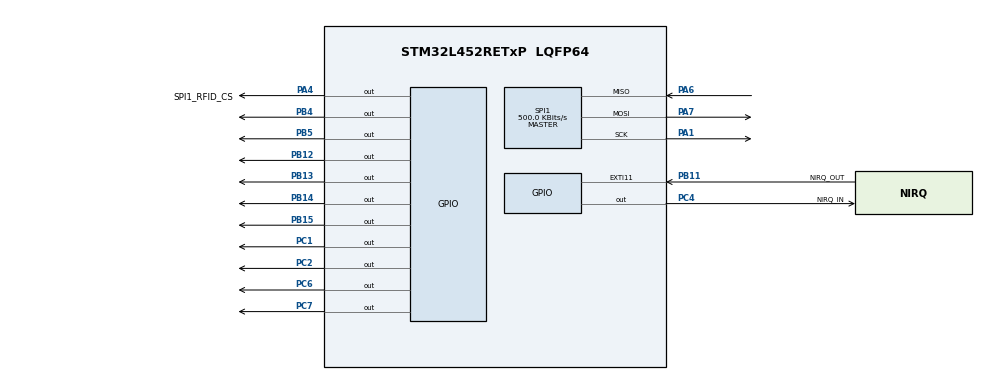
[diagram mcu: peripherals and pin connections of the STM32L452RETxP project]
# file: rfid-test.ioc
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Mcu.Family=STM32L4
Mcu.Name=STM32L452RETxP
Mcu.Package=LQFP64
NVIC.EXTI15_10_IRQn=true\:0\:0\:false\:false\:true\:true\:true\:true
NVIC.PriorityGroup=NVIC_PRIORITYGROUP_4
PA1.Mode=Full_Duplex_Master
PA1.Signal=SPI1_SCK
PA4.GPIO_Label=SPI1_RFID_CS
PA4.GPIO_Speed=GPIO_SPEED_FREQ_VERY_HIGH
PA4.PinState=GPIO_PIN_SET
PA4.Signal=GPIO_Output
PA6.Mode=Full_Duplex_Master
PA6.Signal=SPI1_MISO
PA7.Mode=Full_Duplex_Master
PA7.Signal=SPI1_MOSI
PB11.GPIO_Label=NIRQ_OUT
PB11.GPIO_ModeDefaultEXTI=GPIO_MODE_IT_FALLING
PB11.GPIO_PuPd=GPIO_PULLUP
PB11.Signal=GPXTI11
PB12.Signal=GPIO_Output
PB13.Signal=GPIO_Output
PB14.Signal=GPIO_Output
PB15.Signal=GPIO_Output
PB4\ (NJTRST).Signal=GPIO_Output
PB5.Signal=GPIO_Output
PC1.Signal=GPIO_Output
PC2.Signal=GPIO_Output
PC4.GPIO_Label=NIRQ_IN
PC4.GPIO_PuPd=GPIO_PULLUP
PC4.GPIO_Speed=GPIO_SPEED_FREQ_LOW
PC4.Signal=GPIO_Output
PC6.Signal=GPIO_Output
PC7.Signal=GPIO_Output
ProjectManager.HeapSize=0x200
ProjectManager.StackSize=0x400
ProjectManager.TargetToolchain=STM32CubeIDE
RCC.HSE_VALUE=8000000
RCC.HSI48_VALUE=48000000
RCC.HSI_VALUE=16000000
RCC.LSE_VALUE=32768
RCC.MSI_VALUE=4000000
RCC.VCOOutputFreq_Value=32000000
SPI1.BaudRatePrescaler=SPI_BAUDRATEPRESCALER_8
SPI1.CalculateBaudRate=500.0 KBits/s
SPI1.DataSize=SPI_DATASIZE_8BIT
SPI1.Direction=SPI_DIRECTION_2LINES
SPI1.Mode=SPI_MODE_MASTER
SPI1.VirtualType=VM_MASTER
board=custom

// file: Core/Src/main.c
/* USER CODE BEGIN Header */
/**
  ******************************************************************************
  * @file           : main.c
  * @brief          : Main program body
  ******************************************************************************
  * @attention
  *
  * Copyright (c) 2022 STMicroelectronics.
  * All rights reserved.
  *
  * This software is licensed under terms that can be found in the LICENSE file
  * in the root directory of this software component.
  * If no LICENSE file comes with this software, it is provided AS-IS.
  *
  ******************************************************************************
  */
/* USER CODE END Header */
#include "main.h"

/* USER CODE BEGIN Includes */
#include "st25r95.h"
#include <stdlib.h>
/* USER CODE END Includes */

/* USER CODE BEGIN PD */
#define RFID_CS_PORT GPIOA
#define RFID_CS_PIN GPIO_PIN_4
#define RFID_NIRQ_IN_PORT GPIOC
#define RFID_NIRQ_IN_PIN GPIO_PIN_4
#define RFID_NIRQ_OUT_PORT GPIOB
#define RFID_NIRQ_OUT_PIN GPIO_PIN_11

#define SEL0_GPIO_Port GPIOC
#define SEL1_GPIO_Port GPIOC
#define SEL2_GPIO_Port GPIOB
#define SEL3_GPIO_Port GPIOB
#define SEL4_GPIO_Port GPIOC
#define SEL5_GPIO_Port GPIOC
#define SEL6_GPIO_Port GPIOB
#define SEL7_GPIO_Port GPIOB

#define SEL0_Pin GPIO_PIN_2
#define SEL1_Pin GPIO_PIN_1
#define SEL2_Pin GPIO_PIN_15
#define SEL3_Pin GPIO_PIN_14
#define SEL4_Pin GPIO_PIN_7
#define SEL5_Pin GPIO_PIN_6
#define SEL6_Pin GPIO_PIN_13
#define SEL7_Pin GPIO_PIN_12

/* USER CODE END PD */

SPI_HandleTypeDef hspi1;

void SystemClock_Config(void);
static void MX_GPIO_Init(void);
static void MX_SPI1_Init(void);

/* USER CODE BEGIN 0 */
void select_switch_port(uint8_t channel_index) {

	// lol I originally wrote this to be 1 indexed, so I added
		// channel_index++ to make it 0 indexed, the rest of the
		// logic is 1 indexed though

		if (channel_index < 1 || channel_index > 12) {
			return 1;  // Invalid switch index
		}

		// Set U2.4
		uint8_t switch_refdes = 0;  // U2.X for 1st layer switch
		if (channel_index <= 4) {
			HAL_GPIO_WritePin(SEL6_GPIO_Port, SEL6_Pin, 0);
			HAL_GPIO_WritePin(SEL7_GPIO_Port, SEL7_Pin, 0);
			switch_refdes = 1;
		}
		else if (channel_index <= 8) {
			HAL_GPIO_WritePin(SEL6_GPIO_Port, SEL6_Pin, 1);
			HAL_GPIO_WritePin(SEL7_GPIO_Port, SEL7_Pin, 1);
			switch_refdes = 2;
		}
		else { // if channel_index <= 12
			HAL_GPIO_WritePin(SEL6_GPIO_Port, SEL6_Pin, 1);
			HAL_GPIO_WritePin(SEL7_GPIO_Port, SEL7_Pin, 0);
			switch_refdes = 3;
		}

		// The pattern on each 2nd layer switch is the same, use multiplexing
		uint8_t V0 = 0;
		uint8_t V1 = 0;
		if (channel_index % 4 == 0) {  // 4, 8, 12
			V0 = 1;
			V1 = 0;
		}
		else if (channel_index % 4 == 1) {  // 1, 5, 9
			V0 = 0;
			V1 = 0;
		}
		else if (channel_index % 4 == 2) {  // 2, 6, 10
			V0 = 0;
			V1 = 1;
		}
		else {  // if channel_index % 4 == 3  // 3, 7, 11
			V0 = 1;
			V1 = 1;
		}

		// The other switches' V0/V1 are don't care, but set them to 0 anyways
		switch(switch_refdes) {
		case 1:
			HAL_GPIO_WritePin(SEL0_GPIO_Port, SEL0_Pin, V0);
			HAL_GPIO_WritePin(SEL1_GPIO_Port, SEL1_Pin, V1);
			HAL_GPIO_WritePin(SEL2_GPIO_Port, SEL2_Pin, 0);
			HAL_GPIO_WritePin(SEL3_GPIO_Port, SEL3_Pin, 0);
			HAL_GPIO_WritePin(SEL4_GPIO_Port, SEL4_Pin, 0);
			HAL_GPIO_WritePin(SEL5_GPIO_Port, SEL5_Pin, 0);
			break;
		case 2:
			HAL_GPIO_WritePin(SEL0_GPIO_Port, SEL0_Pin, 0);
			HAL_GPIO_WritePin(SEL1_GPIO_Port, SEL1_Pin, 0);
			HAL_GPIO_WritePin(SEL2_GPIO_Port, SEL2_Pin, V0);
			HAL_GPIO_WritePin(SEL3_GPIO_Port, SEL3_Pin, V1);
			HAL_GPIO_WritePin(SEL4_GPIO_Port, SEL4_Pin, 0);
			HAL_GPIO_WritePin(SEL5_GPIO_Port, SEL5_Pin, 0);
			break;
		case 3:
			HAL_GPIO_WritePin(SEL0_GPIO_Port, SEL0_Pin, 0);
			HAL_GPIO_WritePin(SEL1_GPIO_Port, SEL1_Pin, 0);
			HAL_GPIO_WritePin(SEL2_GPIO_Port, SEL2_Pin, 0);
			HAL_GPIO_WritePin(SEL3_GPIO_Port, SEL3_Pin, 0);
			HAL_GPIO_WritePin(SEL4_GPIO_Port, SEL4_Pin, V0);
			HAL_GPIO_WritePin(SEL5_GPIO_Port, SEL5_Pin, V1);
			break;
		default:
			break;
		}

		return 0;
}

volatile st25r95_handle reader_handler;

void reader_irq_pulse() {
  HAL_GPIO_WritePin(RFID_NIRQ_IN_PORT, RFID_NIRQ_IN_PIN, GPIO_PIN_RESET);
  HAL_Delay(1);
  HAL_GPIO_WritePin(RFID_NIRQ_IN_PORT, RFID_NIRQ_IN_PIN, GPIO_PIN_SET);
  HAL_Delay(100);
}

void reader_nss(uint8_t enable) {
  HAL_GPIO_WritePin(RFID_CS_PORT, RFID_CS_PIN, enable ? GPIO_PIN_RESET : GPIO_PIN_SET);
}

int reader_tx(uint8_t *data, size_t len) {
  int ret = HAL_SPI_Transmit(&hspi1, data, len, HAL_MAX_DELAY);
  return ret;
}

int reader_rx(uint8_t *data, size_t len, uint32_t delay) {
  int ret = HAL_SPI_Receive(&hspi1, data, len, delay);
  return ret;
}

void HAL_GPIO_EXTI_Callback(uint16_t pin) {
  if (pin == RFID_NIRQ_OUT_PIN) {
    reader_handler.irq_flag = 1;
  }
}

void st25_card_callback(uint8_t *uid) {
  HAL_Delay(uid[0]);
}
/* USER CODE END 0 */

int main(void)
{

  /* MCU Configuration--------------------------------------------------------*/

  /* Reset of all peripherals, Initializes the Flash interface and the Systick. */
  HAL_Init();

  /* Configure the system clock */
  SystemClock_Config();

  /* Initialize all configured peripherals */
  MX_GPIO_Init();
  MX_SPI1_Init();
  /* USER CODE BEGIN 2 */

  /* Setup all protocol */
  reader_handler.protocol = ST25_PROTOCOL_15693;
  reader_handler.tx_speed = ST25_26K_106K; // datarate used by 14443A
  reader_handler.rx_speed = ST25_26K_106K; // same for up and downlinks
  reader_handler.timerw = 0x58;
  reader_handler.ARC = 0xD1;
  reader_handler.irq_flag = 0;

  /* Bind BSP Functions */
  reader_handler.nss = reader_nss;
  reader_handler.tx = reader_tx;
  reader_handler.rx = reader_rx;
  reader_handler.irq_pulse = reader_irq_pulse;
  reader_handler.callback = st25_card_callback;

  select_switch_port(5);
  st25r95_init(&reader_handler);
  st25r95_calibrate(&reader_handler);

  /* USER CODE END 2 */

  /* Infinite loop */
  /* USER CODE BEGIN WHILE */

  st25r95_idle(&reader_handler);
  while (1) {
    st25r95_service(&reader_handler);
    /* USER CODE END WHILE */

  }
}

void SystemClock_Config(void)
{
  RCC_OscInitTypeDef RCC_OscInitStruct = {0};
  RCC_ClkInitTypeDef RCC_ClkInitStruct = {0};

  /** Configure the main internal regulator output voltage
  */
  if (HAL_PWREx_ControlVoltageScaling(PWR_REGULATOR_VOLTAGE_SCALE1) != HAL_OK)
  {
    Error_Handler();
  }

  /** Initializes the RCC Oscillators according to the specified parameters
  * in the RCC_OscInitTypeDef structure.
  */
  RCC_OscInitStruct.OscillatorType = RCC_OSCILLATORTYPE_MSI;
  RCC_OscInitStruct.MSIState = RCC_MSI_ON;
  RCC_OscInitStruct.MSICalibrationValue = 0;
  RCC_OscInitStruct.MSIClockRange = RCC_MSIRANGE_6;
  RCC_OscInitStruct.PLL.PLLState = RCC_PLL_NONE;
  if (HAL_RCC_OscConfig(&RCC_OscInitStruct) != HAL_OK)
  {
    Error_Handler();
  }

  /** Initializes the CPU, AHB and APB buses clocks
  */
  RCC_ClkInitStruct.ClockType = RCC_CLOCKTYPE_HCLK|RCC_CLOCKTYPE_SYSCLK
                              |RCC_CLOCKTYPE_PCLK1|RCC_CLOCKTYPE_PCLK2;
  RCC_ClkInitStruct.SYSCLKSource = RCC_SYSCLKSOURCE_MSI;
  RCC_ClkInitStruct.AHBCLKDivider = RCC_SYSCLK_DIV1;
  RCC_ClkInitStruct.APB1CLKDivider = RCC_HCLK_DIV1;
  RCC_ClkInitStruct.APB2CLKDivider = RCC_HCLK_DIV1;

  if (HAL_RCC_ClockConfig(&RCC_ClkInitStruct, FLASH_LATENCY_0) != HAL_OK)
  {
    Error_Handler();
  }
}

static void MX_SPI1_Init(void)
{

  /* SPI1 parameter configuration*/
  hspi1.Instance = SPI1;
  hspi1.Init.Mode = SPI_MODE_MASTER;
  hspi1.Init.Direction = SPI_DIRECTION_2LINES;
  hspi1.Init.DataSize = SPI_DATASIZE_8BIT;
  hspi1.Init.CLKPolarity = SPI_POLARITY_LOW;
  hspi1.Init.CLKPhase = SPI_PHASE_1EDGE;
  hspi1.Init.NSS = SPI_NSS_SOFT;
  hspi1.Init.BaudRatePrescaler = SPI_BAUDRATEPRESCALER_8;
  hspi1.Init.FirstBit = SPI_FIRSTBIT_MSB;
  hspi1.Init.TIMode = SPI_TIMODE_DISABLE;
  hspi1.Init.CRCCalculation = SPI_CRCCALCULATION_DISABLE;
  hspi1.Init.CRCPolynomial = 7;
  hspi1.Init.CRCLength = SPI_CRC_LENGTH_DATASIZE;
  hspi1.Init.NSSPMode = SPI_NSS_PULSE_ENABLE;
  if (HAL_SPI_Init(&hspi1) != HAL_OK)
  {
    Error_Handler();
  }

}

static void MX_GPIO_Init(void)
{
  GPIO_InitTypeDef GPIO_InitStruct = {0};

  /* GPIO Ports Clock Enable */
  __HAL_RCC_GPIOC_CLK_ENABLE();
  __HAL_RCC_GPIOA_CLK_ENABLE();
  __HAL_RCC_GPIOB_CLK_ENABLE();

  /*Configure GPIO pin Output Level */
  HAL_GPIO_WritePin(GPIOC, GPIO_PIN_1|GPIO_PIN_2|NIRQ_IN_Pin|GPIO_PIN_6
                          |GPIO_PIN_7, GPIO_PIN_RESET);

  /*Configure GPIO pin Output Level */
  HAL_GPIO_WritePin(SPI1_RFID_CS_GPIO_Port, SPI1_RFID_CS_Pin, GPIO_PIN_SET);

  /*Configure GPIO pin Output Level */
  HAL_GPIO_WritePin(GPIOB, GPIO_PIN_12|GPIO_PIN_13|GPIO_PIN_14|GPIO_PIN_15
                          |GPIO_PIN_4|GPIO_PIN_5, GPIO_PIN_RESET);

  /*Configure GPIO pins : PC1 PC2 PC6 PC7 */
  GPIO_InitStruct.Pin = GPIO_PIN_1|GPIO_PIN_2|GPIO_PIN_6|GPIO_PIN_7;
  GPIO_InitStruct.Mode = GPIO_MODE_OUTPUT_PP;
  GPIO_InitStruct.Pull = GPIO_NOPULL;
  GPIO_InitStruct.Speed = GPIO_SPEED_FREQ_LOW;
  HAL_GPIO_Init(GPIOC, &GPIO_InitStruct);

  /*Configure GPIO pin : SPI1_RFID_CS_Pin */
  GPIO_InitStruct.Pin = SPI1_RFID_CS_Pin;
  GPIO_InitStruct.Mode = GPIO_MODE_OUTPUT_PP;
  GPIO_InitStruct.Pull = GPIO_NOPULL;
  GPIO_InitStruct.Speed = GPIO_SPEED_FREQ_VERY_HIGH;
  HAL_GPIO_Init(SPI1_RFID_CS_GPIO_Port, &GPIO_InitStruct);

  /*Configure GPIO pin : NIRQ_IN_Pin */
  GPIO_InitStruct.Pin = NIRQ_IN_Pin;
  GPIO_InitStruct.Mode = GPIO_MODE_OUTPUT_PP;
  GPIO_InitStruct.Pull = GPIO_PULLUP;
  GPIO_InitStruct.Speed = GPIO_SPEED_FREQ_LOW;
  HAL_GPIO_Init(NIRQ_IN_GPIO_Port, &GPIO_InitStruct);

  /*Configure GPIO pin : NIRQ_OUT_Pin */
  GPIO_InitStruct.Pin = NIRQ_OUT_Pin;
  GPIO_InitStruct.Mode = GPIO_MODE_IT_FALLING;
  GPIO_InitStruct.Pull = GPIO_PULLUP;
  HAL_GPIO_Init(NIRQ_OUT_GPIO_Port, &GPIO_InitStruct);

  /*Configure GPIO pins : PB12 PB13 PB14 PB15
                           PB4 PB5 */
  GPIO_InitStruct.Pin = GPIO_PIN_12|GPIO_PIN_13|GPIO_PIN_14|GPIO_PIN_15
                          |GPIO_PIN_4|GPIO_PIN_5;
  GPIO_InitStruct.Mode = GPIO_MODE_OUTPUT_PP;
  GPIO_InitStruct.Pull = GPIO_NOPULL;
  GPIO_InitStruct.Speed = GPIO_SPEED_FREQ_LOW;
  HAL_GPIO_Init(GPIOB, &GPIO_InitStruct);

  /* EXTI interrupt init*/
  HAL_NVIC_SetPriority(EXTI15_10_IRQn, 0, 0);
  HAL_NVIC_EnableIRQ(EXTI15_10_IRQn);

}

void Error_Handler(void)
{
  __disable_irq();
  while (1) {
  }
}
